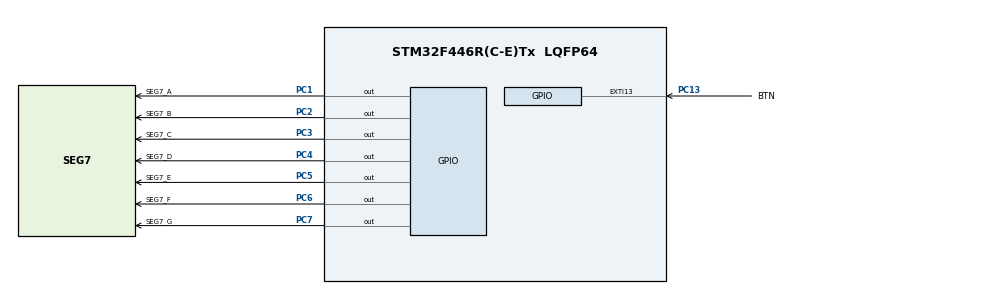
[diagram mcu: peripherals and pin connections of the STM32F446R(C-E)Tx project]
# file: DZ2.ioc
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Mcu.Family=STM32F4
Mcu.Name=STM32F446R(C-E)Tx
Mcu.Package=LQFP64
NVIC.EXTI15_10_IRQn=true\:0\:0\:false\:false\:true\:true\:true\:true
NVIC.PriorityGroup=NVIC_PRIORITYGROUP_4
PA13.Mode=Serial_Wire
PA13.Signal=SYS_JTMS-SWDIO
PA14.Mode=Serial_Wire
PA14.Signal=SYS_JTCK-SWCLK
PC1.GPIO_Label=SEG7_A
PC1.GPIO_ModeDefaultOutputPP=GPIO_MODE_OUTPUT_PP
PC1.GPIO_PuPd=GPIO_NOPULL
PC1.Signal=GPIO_Output
PC13.GPIO_Label=BTN
PC13.GPIO_ModeDefaultEXTI=GPIO_MODE_IT_FALLING
PC13.Signal=GPXTI13
PC2.GPIO_Label=SEG7_B
PC2.Signal=GPIO_Output
PC3.GPIO_Label=SEG7_C
PC3.Signal=GPIO_Output
PC4.GPIO_Label=SEG7_D
PC4.Signal=GPIO_Output
PC5.GPIO_Label=SEG7_E
PC5.Signal=GPIO_Output
PC6.GPIO_Label=SEG7_F
PC6.Signal=GPIO_Output
PC7.GPIO_Label=SEG7_G
PC7.Signal=GPIO_Output
ProjectManager.HeapSize=0x200
ProjectManager.StackSize=0x400
ProjectManager.TargetToolchain=STM32CubeIDE
RCC.CortexFreq_Value=16000000
RCC.USBFreq_Value=96000000
RCC.VCOOutputFreq_Value=192000000
board=custom

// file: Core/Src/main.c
/* USER CODE BEGIN Header */
/**
  ******************************************************************************
  * @file           : main.c
  * @brief          : Main program body
  ******************************************************************************
  * @attention
  *
  * Copyright (c) 2026 STMicroelectronics.
  * All rights reserved.
  *
  * This software is licensed under terms that can be found in the LICENSE file
  * in the root directory of this software component.
  * If no LICENSE file comes with this software, it is provided AS-IS.
  *
  ******************************************************************************
  */
/* USER CODE END Header */
#include "main.h"

/* USER CODE BEGIN PV */
volatile uint8_t count = 0;

uint16_t seg[10] =
{
		SEG7_A_Pin | SEG7_B_Pin | SEG7_C_Pin | SEG7_D_Pin | SEG7_E_Pin | SEG7_F_Pin,
		SEG7_B_Pin | SEG7_C_Pin,
		SEG7_A_Pin | SEG7_B_Pin | SEG7_G_Pin | SEG7_E_Pin | SEG7_D_Pin,
		SEG7_A_Pin | SEG7_B_Pin | SEG7_C_Pin | SEG7_D_Pin | SEG7_G_Pin,
		SEG7_B_Pin | SEG7_C_Pin | SEG7_F_Pin | SEG7_G_Pin,
		SEG7_A_Pin | SEG7_F_Pin | SEG7_G_Pin | SEG7_C_Pin | SEG7_D_Pin,
		SEG7_A_Pin | SEG7_F_Pin | SEG7_G_Pin | SEG7_C_Pin | SEG7_D_Pin | SEG7_E_Pin,
		SEG7_A_Pin | SEG7_B_Pin | SEG7_C_Pin,
		SEG7_A_Pin | SEG7_B_Pin | SEG7_C_Pin | SEG7_D_Pin | SEG7_E_Pin | SEG7_F_Pin | SEG7_G_Pin,
		SEG7_A_Pin | SEG7_B_Pin | SEG7_C_Pin | SEG7_D_Pin | SEG7_G_Pin | SEG7_F_Pin

};
/* USER CODE END PV */

void SystemClock_Config(void);
static void MX_GPIO_Init(void);

int main(void)
{

  /* MCU Configuration--------------------------------------------------------*/

  /* Reset of all peripherals, Initializes the Flash interface and the Systick. */
  HAL_Init();

  /* Configure the system clock */
  SystemClock_Config();

  /* Initialize all configured peripherals */
  MX_GPIO_Init();

  /* Infinite loop */
  /* USER CODE BEGIN WHILE */
  while (1)
  {

	  GPIOC->ODR = seg[count];
    /* USER CODE END WHILE */

  }
}

void SystemClock_Config(void)
{
  RCC_OscInitTypeDef RCC_OscInitStruct = {0};
  RCC_ClkInitTypeDef RCC_ClkInitStruct = {0};

  /** Configure the main internal regulator output voltage
  */
  __HAL_RCC_PWR_CLK_ENABLE();
  __HAL_PWR_VOLTAGESCALING_CONFIG(PWR_REGULATOR_VOLTAGE_SCALE3);

  /** Initializes the RCC Oscillators according to the specified parameters
  * in the RCC_OscInitTypeDef structure.
  */
  RCC_OscInitStruct.OscillatorType = RCC_OSCILLATORTYPE_HSI;
  RCC_OscInitStruct.HSIState = RCC_HSI_ON;
  RCC_OscInitStruct.HSICalibrationValue = RCC_HSICALIBRATION_DEFAULT;
  RCC_OscInitStruct.PLL.PLLState = RCC_PLL_NONE;
  if (HAL_RCC_OscConfig(&RCC_OscInitStruct) != HAL_OK)
  {
    Error_Handler();
  }

  /** Initializes the CPU, AHB and APB buses clocks
  */
  RCC_ClkInitStruct.ClockType = RCC_CLOCKTYPE_HCLK|RCC_CLOCKTYPE_SYSCLK
                              |RCC_CLOCKTYPE_PCLK1|RCC_CLOCKTYPE_PCLK2;
  RCC_ClkInitStruct.SYSCLKSource = RCC_SYSCLKSOURCE_HSI;
  RCC_ClkInitStruct.AHBCLKDivider = RCC_SYSCLK_DIV1;
  RCC_ClkInitStruct.APB1CLKDivider = RCC_HCLK_DIV1;
  RCC_ClkInitStruct.APB2CLKDivider = RCC_HCLK_DIV1;

  if (HAL_RCC_ClockConfig(&RCC_ClkInitStruct, FLASH_LATENCY_0) != HAL_OK)
  {
    Error_Handler();
  }
}

static void MX_GPIO_Init(void)
{
  GPIO_InitTypeDef GPIO_InitStruct = {0};

  /* GPIO Ports Clock Enable */
  __HAL_RCC_GPIOC_CLK_ENABLE();
  __HAL_RCC_GPIOA_CLK_ENABLE();

  /*Configure GPIO pin Output Level */
  HAL_GPIO_WritePin(GPIOC, SEG7_A_Pin|SEG7_B_Pin|SEG7_C_Pin|SEG7_D_Pin
                          |SEG7_E_Pin|SEG7_F_Pin|SEG7_G_Pin, GPIO_PIN_RESET);

  /*Configure GPIO pin : BTN_Pin */
  GPIO_InitStruct.Pin = BTN_Pin;
  GPIO_InitStruct.Mode = GPIO_MODE_IT_FALLING;
  GPIO_InitStruct.Pull = GPIO_NOPULL;
  HAL_GPIO_Init(BTN_GPIO_Port, &GPIO_InitStruct);

  /*Configure GPIO pins : SEG7_A_Pin SEG7_B_Pin SEG7_C_Pin SEG7_D_Pin
                           SEG7_E_Pin SEG7_F_Pin SEG7_G_Pin */
  GPIO_InitStruct.Pin = SEG7_A_Pin|SEG7_B_Pin|SEG7_C_Pin|SEG7_D_Pin
                          |SEG7_E_Pin|SEG7_F_Pin|SEG7_G_Pin;
  GPIO_InitStruct.Mode = GPIO_MODE_OUTPUT_PP;
  GPIO_InitStruct.Pull = GPIO_NOPULL;
  GPIO_InitStruct.Speed = GPIO_SPEED_FREQ_LOW;
  HAL_GPIO_Init(GPIOC, &GPIO_InitStruct);

  /* EXTI interrupt init*/
  HAL_NVIC_SetPriority(EXTI15_10_IRQn, 0, 0);
  HAL_NVIC_EnableIRQ(EXTI15_10_IRQn);

}

/* USER CODE BEGIN 4 */
void HAL_GPIO_EXTI_Callback(uint16_t GPIO_Pin)
{
	count++;
	if (count > 9)
	  count = 0;
}

/* USER CODE END 4 */

void Error_Handler(void)
{
  __disable_irq();
  while (1)
  {
  }
}
